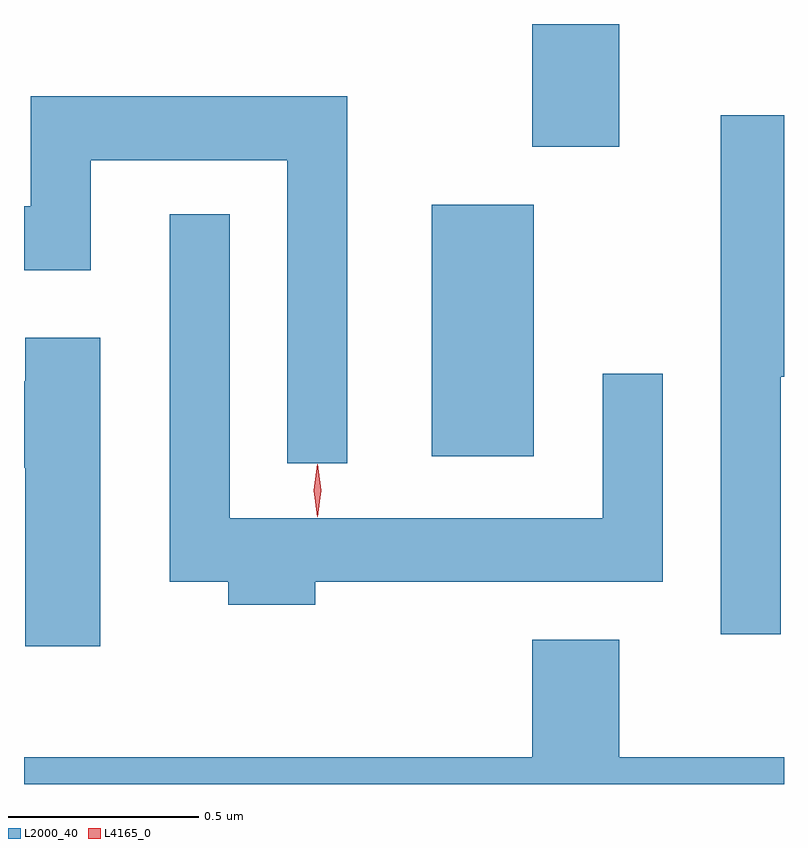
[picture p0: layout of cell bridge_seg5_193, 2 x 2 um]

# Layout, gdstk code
import gdstk
lib = gdstk.Library(unit=1e-6, precision=1e-09)
def R(c, l, rs):  # rectangles x0, y0, x1, y1
    for r in rs: c.add(gdstk.rectangle(r[:2], r[2:], *l))
def P(c, l, *ps):  # polygons
    for p in ps: c.add(gdstk.Polygon(p, *l))
L2000_40 = (2000, 40)
L4165_0 = (4165, 0)

bridge_seg5_193 = lib.new_cell('bridge_seg5_193')
R(bridge_seg5_193, L2000_40, [(1340.056,1433.436,1340.324,1434.099), (1340.321,1434.251,1340.549,1434.574)])
P(bridge_seg5_193, L2000_40, [(1339.834,1434.384),(1339.001,1434.384),(1339.001,1434.094),(1338.983,1434.094),(1338.983,1433.926),(1339.159,1433.926),(1339.159,1434.216),(1339.676,1434.216),(1339.676,1433.418),(1339.834,1433.418)],
  [(1340.974,1433.646),(1340.983,1433.646),(1340.983,1434.334),(1340.816,1434.334),(1340.816,1432.968),(1340.974,1432.968)],
  [(1339.749,1433.106),(1340.664,1433.106),(1340.664,1433.653),(1340.506,1433.653),(1340.506,1433.274),(1339.524,1433.274),(1339.524,1434.073),(1339.366,1434.073),(1339.366,1433.106),(1339.521,1433.106),(1339.521,1433.046),(1339.749,1433.046)],
  [(1339.184,1433.749),(1338.986,1433.749),(1338.986,1433.634),(1338.983,1433.634),(1338.983,1433.406),(1338.986,1433.406),(1338.986,1432.936),(1339.184,1432.936)],
  [(1340.983,1432.644),(1340.549,1432.644),(1340.549,1432.954),(1340.321,1432.954),(1340.321,1432.644),(1338.983,1432.644),(1338.983,1432.574),(1340.983,1432.574)])
P(bridge_seg5_193, L4165_0, [(1339.755,1433.277),(1339.755,1433.277),(1339.745,1433.347),(1339.755,1433.416),(1339.755,1433.416),(1339.756,1433.416),(1339.765,1433.347),(1339.756,1433.277)],
  [(1339.755,1433.28),(1339.755,1433.28),(1339.745,1433.346),(1339.755,1433.412),(1339.755,1433.413),(1339.756,1433.412),(1339.765,1433.346),(1339.756,1433.28)])

lib.write_gds('bridge_seg5_193.gds')
